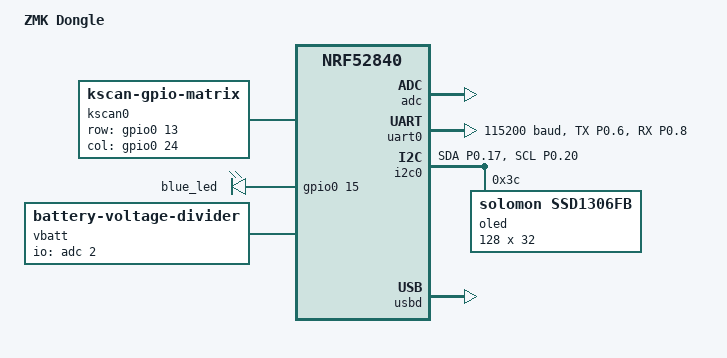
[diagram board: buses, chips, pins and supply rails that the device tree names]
/dts-v1/;
#include <nordic/nrf52840_qiaa.dtsi>
#include <dt-bindings/zmk/matrix_transform.h>

/ {
    model = "ZMK Dongle";
    compatible = "zmk,dongle";

    chosen {
        zephyr,code-partition = &code_partition;
        zephyr,sram = &sram0;
        zephyr,flash = &flash0;
        zephyr,console = &cdc_acm_uart;
        zephyr,bt-uart = &uart0;
        zmk,battery = &vbatt;
        zmk,kscan = &kscan0;
        zmk,matrix_transform = &default_transform;
    };

    aliases {
        zephyr-udc0 = &usbd;
    };

    default_transform: keymap_transform_0 {
        compatible = "zmk,matrix-transform";
        columns = <1>;
        rows = <1>;
        map = <
            RC(0,0)
        >;
    };

    kscan0: kscan {
        compatible = "zmk,kscan-gpio-matrix";
        
        diode-direction = "col2row";
        row-gpios = <&gpio0 13 (GPIO_ACTIVE_HIGH | GPIO_PULL_DOWN)>;
        col-gpios = <&gpio0 24 GPIO_ACTIVE_HIGH>;
    };

    leds {
        compatible = "gpio-leds";
        blue_led: led_0 {
            gpios = <&gpio0 15 GPIO_ACTIVE_HIGH>;
        };
    };

    vbatt: vbatt {
        compatible = "zmk,battery-voltage-divider";
        io-channels = <&adc 2>;
        output-ohms = <2000000>;
        full-ohms = <(2000000 + 806000)>;
    };
};

&adc {
    status = "okay";
};

&gpiote {
    status = "okay";
};

&gpio0 {
    status = "okay";
};

&gpio1 {
    status = "okay";
};

&uart0 {
    compatible = "nordic,nrf-uarte";
    status = "okay";
    current-speed = <115200>;
    pinctrl-0 = <&uart0_default>;
    pinctrl-1 = <&uart0_sleep>;
    pinctrl-names = "default", "sleep";
};

&i2c0 {
    compatible = "nordic,nrf-twi";
    status = "okay";
    pinctrl-0 = <&i2c0_default>;
    pinctrl-1 = <&i2c0_sleep>;
    pinctrl-names = "default", "sleep";

    oled: ssd1306@3c {
        compatible = "solomon,ssd1306fb";
        reg = <0x3c>;
        width = <128>;
        height = <32>;
        segment-offset = <0>;
        page-offset = <0>;
        display-offset = <0>;
        multiplex-ratio = <31>;
        segment-remap;
        com-invdir;
        com-sequential;
        prechargep = <0x22>;
    };
};

&pinctrl {
    uart0_default: uart0_default {
        group1 {
            psels = <NRF_PSEL(UART_TX, 0, 6)>,
                    <NRF_PSEL(UART_RX, 0, 8)>;
        };
    };

    uart0_sleep: uart0_sleep {
        group1 {
            psels = <NRF_PSEL(UART_TX, 0, 6)>,
                    <NRF_PSEL(UART_RX, 0, 8)>;
            low-power-enable;
        };
    };

    i2c0_default: i2c0_default {
        group1 {
            psels = <NRF_PSEL(TWIM_SDA, 0, 17)>,
                    <NRF_PSEL(TWIM_SCL, 0, 20)>;
        };
    };

    i2c0_sleep: i2c0_sleep {
        group1 {
            psels = <NRF_PSEL(TWIM_SDA, 0, 17)>,
                    <NRF_PSEL(TWIM_SCL, 0, 20)>;
            low-power-enable;
        };
    };
};

&usbd {
    status = "okay";
    cdc_acm_uart: cdc_acm_uart {
        compatible = "zephyr,cdc-acm-uart";
    };
};

&flash0 {
    partitions {
        compatible = "fixed-partitions";
        #address-cells = <1>;
        #size-cells = <1>;

        sd_partition: partition@0 {
            reg = <0x00000000 0x00001000>;
        };

        code_partition: partition@1000 {
            reg = <0x00001000 0x000d3000>;
        };

        storage_partition: partition@d4000 {
            reg = <0x000d4000 0x00020000>;
        };

        boot_partition: partition@f4000 {
            reg = <0x000f4000 0x0000c000>;
        };
    };
};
